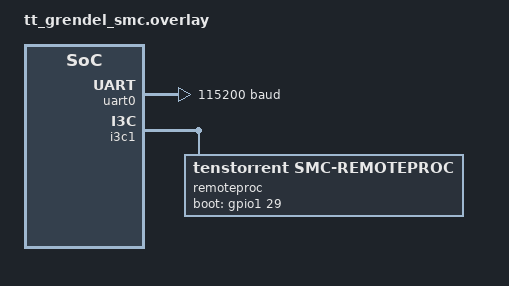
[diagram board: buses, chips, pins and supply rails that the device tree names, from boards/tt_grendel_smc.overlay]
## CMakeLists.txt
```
# Copyright (c) 2025 Tenstorrent AI ULC
# SPDX-License-Identifier: Apache-2.0

cmake_minimum_required(VERSION 3.20.0)
find_package(Zephyr REQUIRED HINTS $ENV{ZEPHYR_BASE})
project(bl1_primary)

add_custom_command(OUTPUT ${CMAKE_BINARY_DIR}/remote_smc.elf
		   COMMAND ${CMAKE_C_COMPILER} -ffreestanding
		   	-nostdlib -Wl,--section-start=.text=0xc0066000
			${CMAKE_CURRENT_SOURCE_DIR}/src/remote_smc_startup.S
			-o ${CMAKE_BINARY_DIR}/remote_smc.elf
		   DEPENDS ${CMAKE_CURRENT_SOURCE_DIR}/src/remote_smc_startup.S
)

add_custom_command(OUTPUT ${CMAKE_BINARY_DIR}/remote_smc.bin
		   COMMAND ${CMAKE_OBJCOPY} -O binary ${CMAKE_BINARY_DIR}/remote_smc.elf
			${CMAKE_BINARY_DIR}/remote_smc.bin
		   DEPENDS ${CMAKE_BINARY_DIR}/remote_smc.elf
)

add_custom_target(remote_smc_bin ALL
		  DEPENDS ${CMAKE_BINARY_DIR}/remote_smc.bin
)

set(gen_inc_dir ${ZEPHYR_BINARY_DIR}/misc/generated)
zephyr_include_directories(${gen_inc_dir})

generate_inc_file_for_target(
	app ${CMAKE_BINARY_DIR}/remote_smc.bin ${gen_inc_dir}/remote_smc_bin.inc
)

add_dependencies(app remote_smc_bin)
target_sources(app PRIVATE src/main.c)
```

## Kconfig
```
# Copyright (c) 2025 Tenstorrent Inc.
# SPDX-License-Identifier: Apache-2.0

# These Kconfigs are set by sysbuild when building for Grendel platforms,
# indicating that we have a secondary binary for the SMC to load

config BOOT_REMOTE_SMC
	bool "Boot remote SMC chiplet"
	help
	  Enable support for booting a remote SMC chiplet using the
	  remoteproc API over OCCP.

if BOOT_REMOTE_SMC

config REMOTE_SMC_BINARY_HEADER
	string "Path to header file for remote SMC binary"
	help
	  Path to the header file for the remote SMC binary to be loaded.

endif

source "Kconfig.zephyr"
```

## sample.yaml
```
sample:
  name: bl1_primary
tests:
  sample.bl1_primary:
    build_only: true
```

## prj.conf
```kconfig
CONFIG_TT_SMC_REMOTEPROC=y
CONFIG_LOG=y
CONFIG_OCCP=y
CONFIG_OCCP_LOG_LEVEL_DBG=y
```

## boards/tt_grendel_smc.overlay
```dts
#include <freq.h>
#include <zephyr/dt-bindings/gpio/gpio.h>

&uart0 {
	status = "okay";
	current-speed = <115200>;
	/* Set clock frequency so DLAB is programmed to 1 */
	clock-frequency = <2000000>;
};

&i3c1 {
	status = "okay";
	input-clock-frequency = <DT_FREQ_M(800)>;
	i3c-scl-hz = <DT_FREQ_M(12)>; /* 12 MHz I3C SCL frequency */
	i2c-scl-hz = <DT_FREQ_K(400)>; /* 400 kHz I2C SCL frequency */

	remoteproc: remoteproc@88fc1fe8fa15 {
		/* GPIO 61 is boot gpio */
		boot-gpios = <&gpio1 29 GPIO_ACTIVE_HIGH>;
		compatible = "tenstorrent,smc-remoteproc";
		/* No static address, PID of 0x88fc1fe8fa1 */
		reg = <0x0 0x88fc 0x1fe8fa15>;
	};
};
```

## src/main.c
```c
/*
 * Copyright (c) 2025 Tenstorrent AI ULC
 *
 * SPDX-License-Identifier: Apache-2.0
 */

#include <stdio.h>

#include <zephyr/drivers/gpio.h>
#include <zephyr/drivers/i3c.h>

#include <zephyr/drivers/misc/tt_smc_remoteproc.h>

#include <soc.h>

const struct device *smc_dev = DEVICE_DT_GET(DT_NODELABEL(remoteproc));

uint8_t remote_smc_bin[] = {
	#include CONFIG_REMOTE_SMC_BINARY_HEADER
};
const unsigned int remote_smc_bin_len = sizeof(remote_smc_bin);

int main(void)
{
	int ret;

	printf("Primary BL1 is running!\n");

	if (!device_is_ready(smc_dev)) {
		printf("Remote SMC device not ready\n");
		return -ENODEV;
	}

	ret = tt_smc_remoteproc_boot(smc_dev, 0xc0066000, remote_smc_bin, remote_smc_bin_len);
	if (ret != 0) {
		printf("Failed to boot remote SMC: %d\n", ret);
		return ret;
	}

	while (1) {
		k_sleep(K_SECONDS(1));
		printf("Primary BL1 is alive!\n");
	}

	return 0;
}
```
